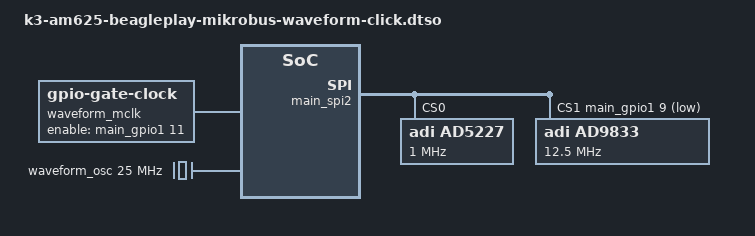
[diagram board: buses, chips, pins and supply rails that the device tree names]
// SPDX-License-Identifier: GPL-2.0-only OR MIT
/*
 * MikroBus Waveform Click Board -- AD9833, AD5227
 * Copyright (C) 2026 Trevor Gamblin <tgamblin@baylibre.com>
 * Copyright (C) 2026 Tim Orling <tim.orling@konsulko.com>
 *
 * | Notes                  | Pin  |          Mikrobus         | Pin  | Notes                  |
 * | ---------------------- | ---- | ------------------------- | ---- | ---------------------- |
 * |   	                    |   NC |   1 |   AN || PWM  |  16  | OEN  | Clock Generator Enable |
 * | Chip Select for AD9833 |  FSN |   2 |  RST || INT  |  15  | NC   |                        |
 * | Chip Select for AD5227 |   CS |   3 |   CS || RX   |  14  | NC   |                        |
 * | SPI Clock              |  SCK |   4 |  SCK || TX   |  13  | NC   |                        |
 * |                        |   NC |   5 | MISO || SCL  |  12  | NC   |                        |
 * | SPI Data IN            |  SDI |   6 | MOSI || SDA  |  11  | NC   |                        |
 * | Power Supply           | 3.3V |   7 | 3.3V || 5V   |  10  | NC   |                        |
 * | Ground                 |  GND |   8 |  GND || GND  |   9  | GND  | Ground                 |
 * |-------------------------------------------------------------------------------------------|
 *
 */

/*
 * DT Overlay for Waveform Click on BeaglePlay MikroBUS socket
 *
 * AD9833 (waveform generator) - CS on RST pin (GPIO1_9)
 * AD5227 (digital pot)        - CS on native SPI2_CS0
 * OEN (clock enable)          - PWM pin remuxed from ECAP2 to GPIO1_11
 */

/dts-v1/;
/plugin/;

#include <dt-bindings/gpio/gpio.h>
#include "k3-pinctrl.h"

/* Disable ECAP2 — we're repurposing its pin (0x01a4) as GPIO for OEN */
&ecap2 {
	status = "disabled";
};

&main_pmx0 {
	waveform_click_oen_pin: waveform-click-oen-pin {
		pinctrl-single,pins = <
			AM62X_IOPAD(0x01a4, PIN_OUTPUT, 7) /* (B20) MCASP0_ACLKX.GPIO1_11 - OEN */
		>;
	};
};

&{/} {
	/*
	 * The on-board oscillator, enabled by OEN (GPIO1_11).
	 * Check the Waveform Click schematic for actual frequency —
	 * typically 25 MHz for AD9833-based boards.
	 */
	waveform_mclk: waveform-mclk {
		compatible = "gpio-gate-clock";
		clocks = <&waveform_osc>;
		#clock-cells = <0>;
		enable-gpios = <&main_gpio1 11 GPIO_ACTIVE_HIGH>;
		pinctrl-names = "default";
		pinctrl-0 = <&waveform_click_oen_pin>;
	};

	waveform_osc: waveform-oscillator {
		compatible = "fixed-clock";
		#clock-cells = <0>;
		clock-frequency = <25000000>; /* 25 MHz — verify from schematic! */
	};
};

&main_spi2 {
	pinctrl-names = "default";
	pinctrl-0 = <&mikrobus_spi_pins_default>;
	#address-cells = <1>;
	#size-cells = <0>;
	status = "okay";

	cs-gpios = <0>,
		   <&main_gpio1 9 GPIO_ACTIVE_LOW>;

	ad5227: potentiometer@0 {
		compatible = "adi,ad5227";
		reg = <0>;
		spi-max-frequency = <1000000>;
	};

	ad9833: waveform@1 {
		compatible = "adi,ad9833";
		reg = <1>;
		spi-max-frequency = <12500000>;
		spi-cpol;
		spi-cpha;
		clocks = <&waveform_mclk>;
		clock-names = "mclk";
	};
};
